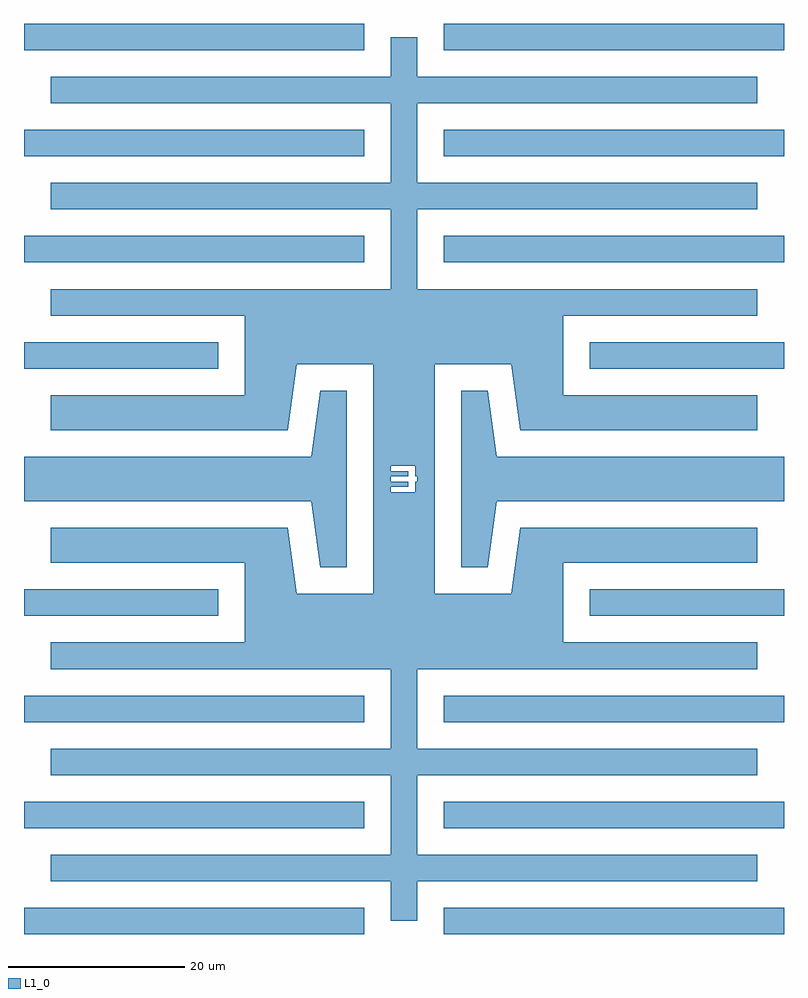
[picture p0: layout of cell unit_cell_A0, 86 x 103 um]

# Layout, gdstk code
from math import pi, radians
import gdstk
lib = gdstk.Library(unit=1e-6, precision=1e-09)
def R(c, l, rs):  # rectangles x0, y0, x1, y1
    for r in rs: c.add(gdstk.rectangle(r[:2], r[2:], *l))
def P(c, l, *ps):  # polygons
    for p in ps: c.add(gdstk.Polygon(p, *l))
L1_0 = (1, 0)

unnamed_251 = lib.new_cell('Unnamed_251')
P(unnamed_251, L1_0, [(38.5,0),(38.5,4.5),(0,4.5),(0,7.5),(38.5,7.5),(38.5,16.5),(0,16.5),(0,19.5),(38.5,19.5),(38.5,28.5),(0,28.5),(0,31.5),(22,31.5),(22,40.5),(0,40.5),(0,44.5),(26.873,44.5),(27.873,37),(36.5,37),(36.5,50),(38.5,50),(38.5,48.5),(40,48.5),(40,0)])

straight_l38p5_n2_csxs_e = lib.new_cell('straight_L38p5_N2_CSxs_e9659eb0')
R(straight_l38p5_n2_csxs_e, L1_0, [(0,-1.5,38.5,1.5)])

straight_array_n3_s9_l3_ = lib.new_cell('straight_array_N3_S9_L3_b91b2c6a')
straight_array_n3_s9_l3_.add(gdstk.Reference(straight_l38p5_n2_csxs_e, (0,0)))
straight_array_n3_s9_l3_.add(gdstk.Reference(straight_l38p5_n2_csxs_e, (0,12)))
straight_array_n3_s9_l3_.add(gdstk.Reference(straight_l38p5_n2_csxs_e, (0,24)))

straight_l22_n2_csxs_e96 = lib.new_cell('straight_L22_N2_CSxs_e9659eb0')
R(straight_l22_n2_csxs_e96, L1_0, [(0,-1.5,22,1.5)])

unnamed_246 = lib.new_cell('Unnamed_246')
unnamed_246.add(gdstk.Reference(straight_array_n3_s9_l3_, (-3,0)))
unnamed_246.add(gdstk.Reference(straight_l22_n2_csxs_e96, (-3,36)))

straight_l33p5_n2_csxs_3 = lib.new_cell('straight_L33p5_N2_CSxs_3e6774cf')
R(straight_l33p5_n2_csxs_3, L1_0, [(0,-2.5,33.5,2.5)])

triangle_x10_x2p5_y4_y3_ = lib.new_cell('triangle_X10_X2p5_Y4_Y3_L1_0')
P(triangle_x10_x2p5_y4_y3_, L1_0, [(0,0),(0,4),(2.5,4),(10,3),(10,0)])

unnamed_249 = lib.new_cell('Unnamed_249')
unnamed_249.add(gdstk.Reference(straight_l33p5_n2_csxs_3, (-3,50)))
unnamed_249.add(gdstk.Reference(triangle_x10_x2p5_y4_y3_, (33.5,50), rotation=3*pi/2, x_reflection=True))

unnamed_252 = lib.new_cell('Unnamed_252')
unnamed_252.add(gdstk.Reference(unnamed_251, (0,0)))
unnamed_252.add(gdstk.Reference(unnamed_246, (0,0)))
unnamed_252.add(gdstk.Reference(unnamed_249, (0,0)))

rectangle_s2_0p6_lwg_cf_ = lib.new_cell('rectangle_S2_0p6_LWG_CF_a6a46f17')
R(rectangle_s2_0p6_lwg_cf_, L1_0, [(0,0,2,0.6)])

rectangle_s0p2_1p2_lwg__ = lib.new_cell('rectangle_S0p2_1p2_LWG__107b6a9b')
R(rectangle_s0p2_1p2_lwg__, L1_0, [(0,0,0.2,1.2)])

unnamed_253 = lib.new_cell('Unnamed_253')
unnamed_253.add(gdstk.Reference(rectangle_s2_0p6_lwg_cf_, (0,-0.9)))
unnamed_253.add(gdstk.Reference(rectangle_s0p2_1p2_lwg__, (2.8,-1.5)))

unit_cell_a0 = lib.new_cell('unit_cell_A0')
unit_cell_a0.add(gdstk.Reference(unnamed_252, (0,0)))
unit_cell_a0.add(gdstk.Reference(unnamed_252, (80,0), rotation=pi, x_reflection=True))
unit_cell_a0.add(gdstk.Reference(unnamed_252, (0,100), x_reflection=True))
unit_cell_a0.add(gdstk.Reference(unnamed_252, (80,100), rotation=pi))
unit_cell_a0.add(gdstk.Reference(unnamed_253, (38.5,50)))
unit_cell_a0.add(gdstk.Reference(unnamed_253, (38.5,50), x_reflection=True))

lib.write_gds('unit_cell_A0.gds')
